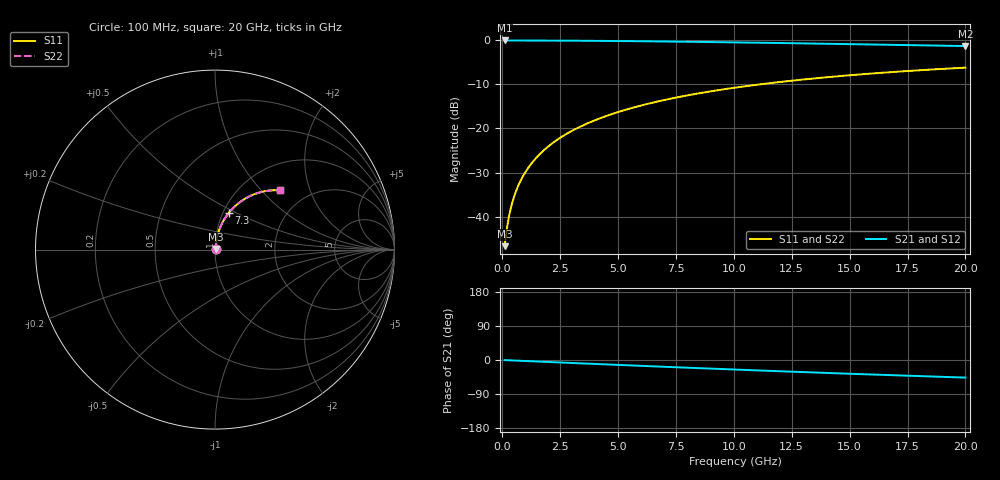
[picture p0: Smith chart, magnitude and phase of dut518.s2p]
! Touchstone file exported from HFSS 2026.1.0
!  File:  C:/ffzhzh/LocalFiles/Ansys_Project_Files/temp_train_TMRDL_518_1783007073_53980.aedt
!  Generated:  11:45:58 PM Jul  2, 2026
!  Design:  TMRDL
!  Project:  temp_train_TMRDL_518_1783007073_53980
! Variables:
!  h_bsmrdl = 2um
!  h_ox = 20um
!  h_rdl = 5um
!  h_sub = 80um
!  h_tmrdl = 3.8um
!  h_tsv = 80um
!  h_via = 3um
!  l_bsmrdl = 300um
!  l_sub = 1026.26um
!  l_tmrdl = 626.26um
!  m_sub = 200um
!  pitch = 59.94um
!  r_tsv = 6um
!  s_tmrdl = 10um
!  w_bsmrdl = 18um
!  w_sub = 500um
!  w_tmrdl = 19.06um
!  x_tsv_center1 = 635.79um
!  x_tsv_center2 = 953.79um
!  x_tsv_center3 = 1599.11um
!  x_tsv_center4 = 1917.11um
!  x_tsv_center5 = 2562.43um
!  x_tsv_center6 = 2880.43um
# GHz S MA R 50.000000
! Terminal data exported
! Port[1] = TM_RDL1_1_T1
! Port[2] = TM_RDL1_1_T2
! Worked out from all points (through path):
!   200 points, 100 MHz to 20 GHz, reference 50 ohm
!   highest |S21| = -0.03 dB at 100 MHz (marker M1); lowest = -1.3 dB at 20 GHz (marker M2)
!   group delay of S21, straight-line fit = 6.46 ps
!   lowest |S11| = -46.7 dB at 100 MHz (marker M3), VSWR 1.01, Z = 50.3 + j0.334 ohm
!   |S11| at or under -10 dB: start of sweep to 11.11 GHz
!   |S22| runs from -46.7 to -6.2 dB; largest |S21 - S12| = 2e-15
!   S11 on the Smith chart (normalised r, x): 100 MHz: 1.01, +0.01; 7.3 GHz: 1.07, +0.46; 20 GHz: 1.47, +1.28
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0.1  0.00462 45.8  0.9968 -0.3  0.9968 -0.3  0.00462 45.8
! Gamma 0 0 0 0
! Port Impedance 50 0 50 0
0.2  0.007394 62.9  0.9967 -0.5  0.9967 -0.5  0.007394 62.9
0.3  0.01042 69.9  0.9965 -0.8  0.9965 -0.8  0.01042 69.9
0.4  0.01349 73.6  0.9964 -1.1  0.9964 -1.1  0.01349 73.6
0.5  0.01656 75.9  0.9962 -1.3  0.9962 -1.3  0.01656 75.9
0.7  0.02272 78.5  0.996 -1.9  0.996 -1.9  0.02272 78.5
0.8  0.02581 79.2  0.9958 -2.1  0.9958 -2.1  0.02581 79.2
1  0.03199 80.2  0.9956 -2.6  0.9956 -2.6  0.03199 80.2
1.4  0.04439 81.0  0.995 -3.7  0.995 -3.7  0.04439 81.0
1.7  0.05369 81.0  0.9944 -4.5  0.9944 -4.5  0.05369 81.0
2  0.06298 80.8  0.9937 -5.3  0.9937 -5.3  0.06298 80.8
2.7  0.08454 79.8  0.9918 -7.1  0.9918 -7.1  0.08454 79.8
3.5  0.1089 78.2  0.989 -9.1  0.989 -9.1  0.1089 78.2
4.2  0.1299 76.6  0.986 -10.9  0.986 -10.9  0.1299 76.6
5  0.1535 74.8  0.9822 -13.0  0.9822 -13.0  0.1535 74.8
6.8  0.2048 70.6  0.9717 -17.4  0.9717 -17.4  0.2049 70.6
7.3  0.2186 69.4  0.9684 -18.7  0.9684 -18.7  0.2186 69.4
8.6  0.2534 66.4  0.9593 -21.8  0.9593 -21.8  0.2534 66.4
10.1  0.2917 62.9  0.9478 -25.4  0.9478 -25.4  0.2917 62.9
13.4  0.3683 55.7  0.92 -32.8  0.92 -32.8  0.3683 55.7
16.7  0.4343 48.8  0.8904 -39.8  0.8904 -39.8  0.4343 48.8
20  0.49 42.4  0.8611 -46.4  0.8611 -46.4  0.49 42.4
